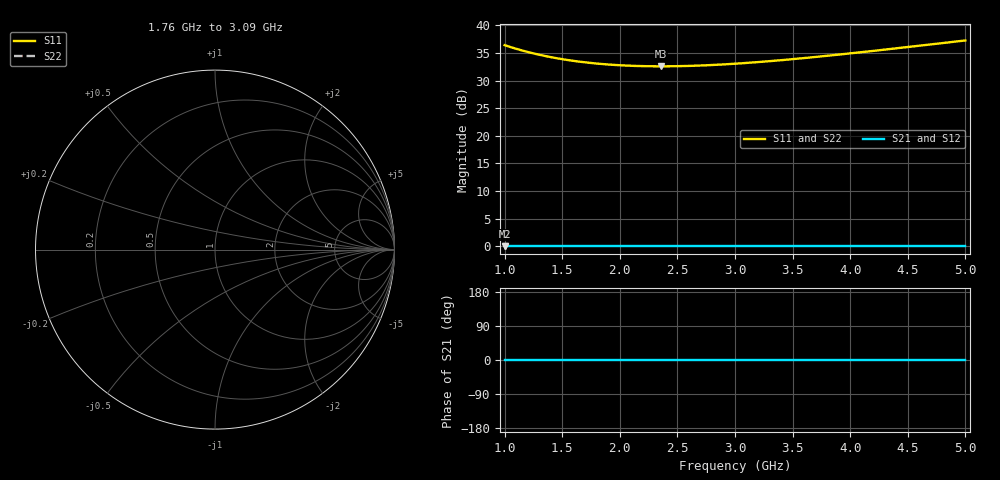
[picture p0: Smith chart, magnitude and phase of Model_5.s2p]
# GHZ S RI R 50
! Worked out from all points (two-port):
!   401 points, 1 GHz to 5 GHz, reference 50 ohm
!   highest |S21| = 0.00 dB at 1 GHz (marker M1); lowest = 0.0 dB at 1 GHz (marker M2)
!   |S21| within 3 dB of the highest: start of sweep to end of sweep
!   lowest |S11| = 32.6 dB at 2.36 GHz (marker M3)
!   |S11| at or under -10 dB: nowhere
!   |S22| runs from 32.6 to 37.3 dB; largest |S21 - S12| = 0
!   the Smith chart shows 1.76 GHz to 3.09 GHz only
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1  66.35 0  1 0  1 0  66.35 0
1.02  65.28 0  1 0  1 0  65.28 0
1.15  59.38 0  1 0  1 0  59.38 0
1.22  56.81 0  1 0  1 0  56.81 0
1.3  54.28 0  1 0  1 0  54.28 0
1.38  52.13 0  1 0  1 0  52.13 0
1.47  50.09 0  1 0  1 0  50.09 0
1.57  48.22 0  1 0  1 0  48.22 0
1.67  46.69 0  1 0  1 0  46.69 0
1.82  44.96 0  1 0  1 0  44.96 0
1.98  43.71 0  1 0  1 0  43.71 0
2.15  42.93 0  1 0  1 0  42.93 0
2.34  42.62 0  1 0  1 0  42.62 0
2.36  42.62 0  1 0  1 0  42.62 0
2.67  43.22 0  1 0  1 0  43.22 0
3  45 0  1 0  1 0  45 0
3.33  47.75 0  1 0  1 0  47.75 0
3.67  51.46 0  1 0  1 0  51.46 0
4  55.82 0  1 0  1 0  55.82 0
4.34  61.05 0  1 0  1 0  61.05 0
4.64  66.23 0  1 0  1 0  66.23 0
5  73.12 0  1 0  1 0  73.12 0
